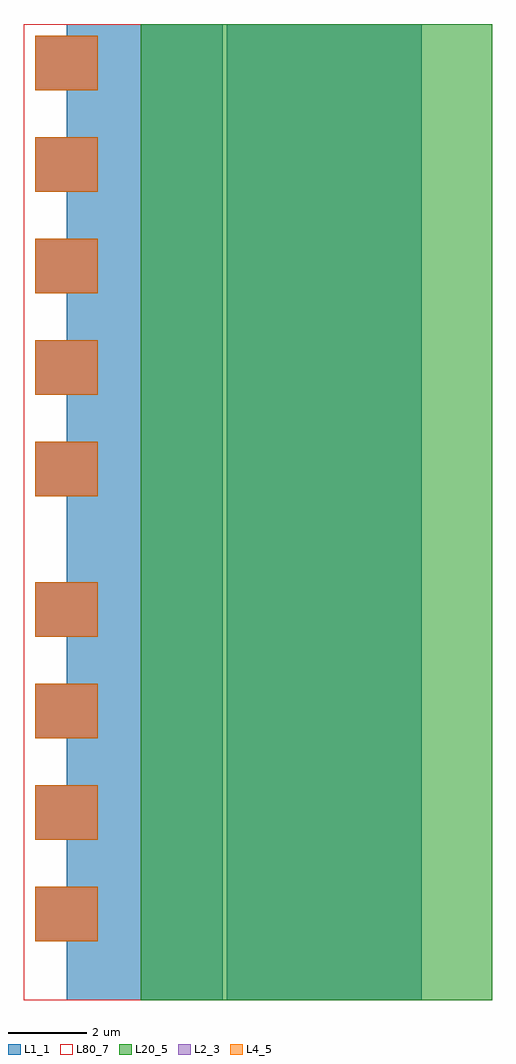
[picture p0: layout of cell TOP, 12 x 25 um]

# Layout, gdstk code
import gdstk
lib = gdstk.Library(unit=1e-6, precision=1e-09)
def R(c, l, rs):  # rectangles x0, y0, x1, y1
    for r in rs: c.add(gdstk.rectangle(r[:2], r[2:], *l))
def A(c, l, x, y, w, h, nx, ny, dx, dy):  # array of equal rectangles
    R(c, l, [(x+i*dx, y+j*dy, x+i*dx+w, y+j*dy+h) for i in range(nx) for j in range(ny)])
L1_1 = (1, 1)
L2_3 = (2, 3)
L4_5 = (4, 5)
L20_5 = (20, 5)
L80_7 = (80, 7)

nilu = lib.new_cell('nilu')
A(nilu, L1_1, 0.3, 1.5, 1.6, 1.4, 1, 4, 0, 2.6)
R(nilu, L1_1, [(1.1,0,5.1,11), (1.1,0,5.1,11), (5.2,0,10.2,11)])
A(nilu, L2_3, 0.3, 1.5, 1.6, 1.4, 1, 4, 0, 2.6)
A(nilu, L4_5, 0.3, 1.5, 1.6, 1.4, 1, 4, 0, 2.6)
R(nilu, L20_5, [(3,0,12,11)])
R(nilu, L80_7, [(0,0,12,11)])
nilu.add(gdstk.Label('Vdd', (2.4,1.3), layer=1, texttype=2))
nilu.add(gdstk.Label('Vdd', (2.4,1.3), layer=1, texttype=2))
nilu.add(gdstk.Label('Vss', (6.5,1.3), layer=1, texttype=2))
nilu.add(gdstk.Label('s1', (1.6,10.6), layer=1, texttype=1))
nilu.add(gdstk.Label('s1', (1.6,8), layer=1, texttype=1))
nilu.add(gdstk.Label('s1', (1.6,5.4), layer=1, texttype=1))
nilu.add(gdstk.Label('s1', (1.6,2.8), layer=1, texttype=1))
nilu.add(gdstk.Label('s1', (1.6,10.6), layer=1, texttype=3))
nilu.add(gdstk.Label('s1', (1.6,8), layer=1, texttype=3))
nilu.add(gdstk.Label('s1', (1.6,5.4), layer=1, texttype=3))
nilu.add(gdstk.Label('s1', (1.6,2.8), layer=1, texttype=3))
nilu.add(gdstk.Label('s1', (1.6,10.6), layer=4, texttype=5))
nilu.add(gdstk.Label('s1', (1.6,8), layer=4, texttype=5))
nilu.add(gdstk.Label('s1', (1.6,5.4), layer=4, texttype=5))
nilu.add(gdstk.Label('s1', (1.6,2.8), layer=4, texttype=5))

c_nk = lib.new_cell('nk')
A(c_nk, L1_1, 0.3, 1.9, 1.6, 1.4, 1, 5, 0, 2.6)
R(c_nk, L1_1, [(1.1,0,5.1,14), (1.1,0,5.1,14), (5.2,0,10.2,14)])
A(c_nk, L2_3, 0.3, 1.9, 1.6, 1.4, 1, 5, 0, 2.6)
A(c_nk, L4_5, 0.3, 1.9, 1.6, 1.4, 1, 5, 0, 2.6)
R(c_nk, L20_5, [(3,0,12,14)])
R(c_nk, L80_7, [(0,0,12,14)])
c_nk.add(gdstk.Label('Vdd', (2.4,1.3), layer=1, texttype=2))
c_nk.add(gdstk.Label('Vdd', (2.4,1.3), layer=1, texttype=2))
c_nk.add(gdstk.Label('Vss', (6.5,1.3), layer=1, texttype=2))
c_nk.add(gdstk.Label('s2', (1.6,13.6), layer=1, texttype=1))
c_nk.add(gdstk.Label('s2', (1.6,11), layer=1, texttype=1))
c_nk.add(gdstk.Label('s2', (1.6,8.4), layer=1, texttype=1))
c_nk.add(gdstk.Label('s2', (1.6,5.8), layer=1, texttype=1))
c_nk.add(gdstk.Label('s2', (1.6,3.2), layer=1, texttype=1))
c_nk.add(gdstk.Label('s2', (1.6,13.6), layer=1, texttype=3))
c_nk.add(gdstk.Label('s2', (1.6,11), layer=1, texttype=3))
c_nk.add(gdstk.Label('s2', (1.6,8.4), layer=1, texttype=3))
c_nk.add(gdstk.Label('s2', (1.6,5.8), layer=1, texttype=3))
c_nk.add(gdstk.Label('s2', (1.6,3.2), layer=1, texttype=3))
c_nk.add(gdstk.Label('s2', (1.6,13.6), layer=4, texttype=5))
c_nk.add(gdstk.Label('s2', (1.6,11), layer=4, texttype=5))
c_nk.add(gdstk.Label('s2', (1.6,8.4), layer=4, texttype=5))
c_nk.add(gdstk.Label('s2', (1.6,5.8), layer=4, texttype=5))
c_nk.add(gdstk.Label('s2', (1.6,3.2), layer=4, texttype=5))

top = lib.new_cell('TOP')
top.add(gdstk.Reference(nilu, (0,0)))
top.add(gdstk.Reference(c_nk, (0,11)))

lib.write_gds('TOP.gds')
